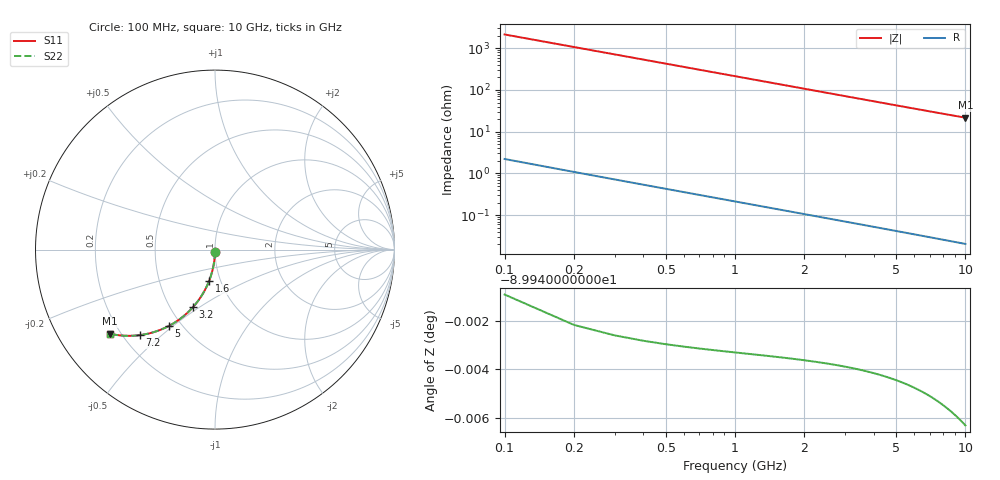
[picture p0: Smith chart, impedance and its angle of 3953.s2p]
# Hz S RI R 50.00
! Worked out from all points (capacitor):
!   100 points, 100 MHz to 10 GHz, reference 50 ohm
!   read as one part in shunt: C = 742 fF near 100 MHz
!   lowest |Z| = 21.7 ohm at 10 GHz (marker M1)
!   S11 on the Smith chart (normalised r, x): 100 MHz: 1.00, -0.02; 1.6 GHz: 0.88, -0.32; 3.2 GHz: 0.65, -0.47; 5 GHz: 0.43, -0.48; 7.2 GHz: 0.27, -0.43; 10 GHz: 0.16, -0.34
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1e8  -0.000108 -0.0114  0.9998 -0.0119  0.9998 -0.0119  -0.000108 -0.0114
2e8  -0.000526 -0.0229  0.9994 -0.0237  0.9994 -0.0237  -0.000526 -0.0229
3e8  -0.00121 -0.0343  0.9987 -0.0356  0.9987 -0.0356  -0.00121 -0.0343
4e8  -0.00217 -0.0456  0.9977 -0.0474  0.9977 -0.0474  -0.00217 -0.0456
5e8  -0.0034 -0.057  0.9965 -0.0592  0.9965 -0.0592  -0.0034 -0.057
6e8  -0.00489 -0.0683  0.995 -0.0709  0.995 -0.0709  -0.00489 -0.0683
7e8  -0.00665 -0.0795  0.9933 -0.0826  0.9933 -0.0826  -0.00665 -0.0795
9e8  -0.0109 -0.1018  0.989 -0.1058  0.989 -0.1058  -0.0109 -0.1018
1.2e9  -0.0193 -0.1346  0.9806 -0.1399  0.9806 -0.1399  -0.0193 -0.1346
1.6e9  -0.0338 -0.1768  0.9661 -0.1839  0.9661 -0.1839  -0.0338 -0.1768
1.8e9  -0.0424 -0.1972  0.9575 -0.2052  0.9575 -0.2052  -0.0424 -0.1972
2.4e9  -0.0731 -0.2545  0.9268 -0.2652  0.9268 -0.2652  -0.0731 -0.2545
3.2e9  -0.1232 -0.3211  0.8767 -0.3354  0.8767 -0.3354  -0.1232 -0.3211
3.4e9  -0.1369 -0.3358  0.8629 -0.351  0.8629 -0.351  -0.1369 -0.3358
4.2e9  -0.1953 -0.3866  0.8045 -0.4055  0.8045 -0.4055  -0.1953 -0.3866
5e9  -0.2564 -0.4249  0.7433 -0.4475  0.7433 -0.4475  -0.2564 -0.4249
5.1e9  -0.2641 -0.4289  0.7356 -0.452  0.7356 -0.452  -0.2641 -0.4289
5.9e9  -0.325 -0.4546  0.6746 -0.4813  0.6746 -0.4813  -0.325 -0.4546
6.7e9  -0.3837 -0.4706  0.6158 -0.5011  0.6158 -0.5011  -0.3837 -0.4706
7.2e9  -0.4186 -0.4764  0.5807 -0.5094  0.5807 -0.5094  -0.4186 -0.4764
8.4e9  -0.4959 -0.4801  0.5032 -0.5188  0.5032 -0.5188  -0.4959 -0.4801
1e10  -0.5836 -0.4691  0.4152 -0.5156  0.4152 -0.5156  -0.5836 -0.4691
